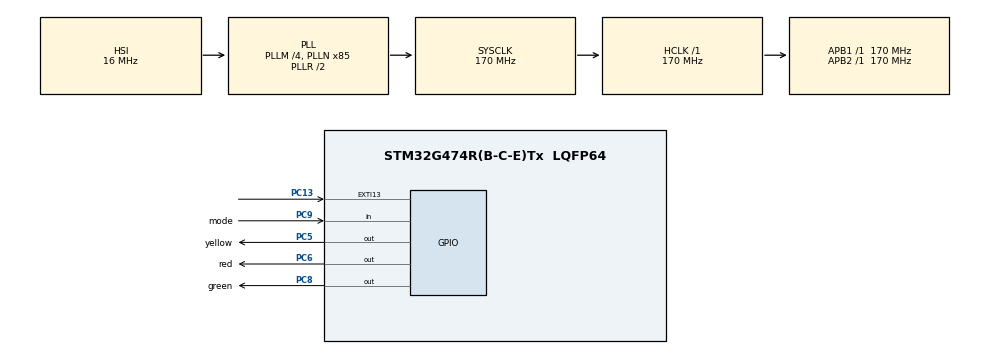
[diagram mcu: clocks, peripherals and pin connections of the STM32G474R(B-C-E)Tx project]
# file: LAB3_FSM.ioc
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Mcu.Family=STM32G4
Mcu.Name=STM32G474R(B-C-E)Tx
Mcu.Package=LQFP64
NUCLEO-G474RE.BUTTON=1
NUCLEO-G474RE.LD2=true
NUCLEO-G474RE.VCP=true
NVIC.EXTI15_10_IRQn=true\:0\:0\:false\:false\:true\:true\:true\:true
NVIC.PriorityGroup=NVIC_PRIORITYGROUP_4
PA13.GPIO_Label=T_SWDIO
PA13.Signal=SYS_JTMS-SWDIO
PA14.GPIO_Label=T_SWCLK
PA14.Signal=SYS_JTCK-SWCLK
PA2.Signal=LPUART1_TX
PA3.Signal=LPUART1_RX
PB3.GPIO_Label=T_SWO
PB3.Signal=SYS_JTDO-SWO
PC13.Signal=GPXTI13
PC14-OSC32_IN.GPIO_Label=RCC_OSC32_IN
PC14-OSC32_IN.Signal=RCC_OSC32_IN
PC15-OSC32_OUT.GPIO_Label=RCC_OSC32_OUT
PC15-OSC32_OUT.Signal=RCC_OSC32_OUT
PC5.GPIO_Label=yellow
PC5.Signal=GPIO_Output
PC6.GPIO_Label=red
PC6.Signal=GPIO_Output
PC8.GPIO_Label=green
PC8.Signal=GPIO_Output
PC9.GPIO_Label=mode
PC9.GPIO_PuPd=GPIO_PULLUP
PC9.Signal=GPIO_Input
PF0-OSC_IN.GPIO_Label=RCC_OSC_IN
PF0-OSC_IN.Signal=RCC_OSC_IN
PF1-OSC_OUT.GPIO_Label=RCC_OSC_OUT
PF1-OSC_OUT.Signal=RCC_OSC_OUT
ProjectManager.HeapSize=0x200
ProjectManager.StackSize=0x400
ProjectManager.TargetToolchain=STM32CubeIDE
RCC.ADC12Freq_Value=170000000
RCC.ADC345Freq_Value=170000000
RCC.AHBFreq_Value=170000000
RCC.APB1Freq_Value=170000000
RCC.APB1TimFreq_Value=170000000
RCC.APB2Freq_Value=170000000
RCC.APB2TimFreq_Value=170000000
RCC.CortexFreq_Value=170000000
RCC.EXTERNAL_CLOCK_VALUE=12288000
RCC.HCLKFreq_Value=170000000
RCC.HSE_VALUE=24000000
RCC.HSI48_VALUE=48000000
RCC.HSI_VALUE=16000000
RCC.LSE_VALUE=32768
RCC.PLLM=RCC_PLLM_DIV4
RCC.PLLN=85
RCC.RTCClockSelection=RCC_RTCCLKSOURCE_LSE
RCC.SYSCLKFreq_VALUE=170000000
RCC.SYSCLKSource=RCC_SYSCLKSOURCE_PLLCLK
RCC.USBFreq_Value=170000000
RCC.VCOOutputFreq_Value=340000000
VP_NUCLEO-G474RE_VS_BSP_COMMON.Mode=COMMON
VP_SYS_VS_DBSignals.Mode=DisableDeadBatterySignals
board=NUCLEO-G474RE

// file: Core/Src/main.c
/* USER CODE BEGIN Header */
/**
  ******************************************************************************
  * @file           : main.c
  * @brief          : Main program body
  ******************************************************************************
  * @attention
  *
  * Copyright (c) 2026 STMicroelectronics.
  * All rights reserved.
  *
  * This software is licensed under terms that can be found in the LICENSE file
  * in the root directory of this software component.
  * If no LICENSE file comes with this software, it is provided AS-IS.
  *
  ******************************************************************************
  */
/* USER CODE END Header */
#include "main.h"

COM_InitTypeDef BspCOMInit;

/* USER CODE BEGIN PV */
/* =========================
   State 定義 (狀態)
   0 = NORMAL (正常綠燈)
   1 = WARNING (警告黃燈)
   2 = EMERGENCY (緊急紅燈)
   ========================= */
#define STATE_NORMAL      0
#define STATE_WARNING     1
#define STATE_EMERGENCY   2

int state = STATE_NORMAL;

/* =========================
   Timing 計時變數
   ========================= */
uint32_t now = 0;
uint32_t previous = 0;

/* =========================
   按鈕與中斷事件 Flag
   ========================= */
volatile int STOP = 0;
int MODE_event = 0;

/* MODE 按鍵前一次與當前狀態 */
GPIO_PinState mode_previous = GPIO_PIN_SET;
GPIO_PinState mode_current = GPIO_PIN_SET;
/* USER CODE END PV */

void SystemClock_Config(void);
static void MX_GPIO_Init(void);

int main(void)
{

  /* MCU Configuration--------------------------------------------------------*/

  /* Reset of all peripherals, Initializes the Flash interface and the Systick. */
  HAL_Init();

  /* Configure the system clock */
  SystemClock_Config();

  /* Initialize all configured peripherals */
  MX_GPIO_Init();
  /* USER CODE BEGIN 2 */
  /* =========================
       開機初始狀態：NORMAL (正常)
       綠燈先亮，其餘燈滅，並記錄當前時間
       ========================= */
    previous = HAL_GetTick();
    HAL_GPIO_WritePin(GPIOC, GPIO_PIN_8, GPIO_PIN_SET);    // 綠燈亮
    HAL_GPIO_WritePin(GPIOC, GPIO_PIN_5, GPIO_PIN_RESET);  // 黃燈滅
    HAL_GPIO_WritePin(GPIOC, GPIO_PIN_6, GPIO_PIN_RESET);  // 紅燈滅
  /* USER CODE END 2 */

  /* Initialize led */
  BSP_LED_Init(LED_GREEN);

  /* Initialize USER push-button, will be used to trigger an interrupt each time it's pressed.*/
  BSP_PB_Init(BUTTON_USER, BUTTON_MODE_EXTI);

  /* Initialize COM1 port (115200, 8 bits (7-bit data + 1 stop bit), no parity */
  BspCOMInit.BaudRate   = 115200;
  BspCOMInit.WordLength = COM_WORDLENGTH_8B;
  BspCOMInit.StopBits   = COM_STOPBITS_1;
  BspCOMInit.Parity     = COM_PARITY_NONE;
  BspCOMInit.HwFlowCtl  = COM_HWCONTROL_NONE;
  if (BSP_COM_Init(COM1, &BspCOMInit) != BSP_ERROR_NONE)
  {
    Error_Handler();
  }

  /* Infinite loop */
  /* USER CODE BEGIN WHILE */
  uint32_t warning_start_time = 0;
  while (1)
  {

    /* USER CODE END WHILE */

    /* USER CODE BEGIN 3 */
  /* =====================================================
       Step 1：讀取輸入事件與系統時間
       ===================================================== */
    MODE_event = 0;
    mode_current = HAL_GPIO_ReadPin(GPIOC, GPIO_PIN_9);

    /* 偵測 PC9 按下瞬間 (High 變 Low) 並做防彈跳 */
    if ((mode_previous == GPIO_PIN_SET) && (mode_current == GPIO_PIN_RESET))
    {
        HAL_Delay(50); // 防彈跳延遲
        if (HAL_GPIO_ReadPin(GPIOC, GPIO_PIN_9) == GPIO_PIN_RESET)
        {
            MODE_event = 1;
        }
    }
    mode_previous = mode_current;
    now = HAL_GetTick(); // 取得當前時間

    /* =====================================================
       Step 2：狀態切換 (FSM Transition)
       ===================================================== */
    // 正常模式按按鍵 -> 進入警告模式
    if ((state == STATE_NORMAL) && (MODE_event == 1))
    {
        state = STATE_WARNING;
        warning_start_time = now;
        previous = now; // 重置計時
        HAL_GPIO_WritePin(GPIOC, GPIO_PIN_8, GPIO_PIN_RESET); // 綠燈滅
        HAL_GPIO_WritePin(GPIOC, GPIO_PIN_5, GPIO_PIN_SET);   // 黃燈亮
        HAL_GPIO_WritePin(GPIOC, GPIO_PIN_6, GPIO_PIN_RESET); // 紅燈滅
    }
    // 警告模式按按鍵 -> 回到正常模式
    else if ((state == STATE_WARNING) && ((MODE_event == 1) || (now - warning_start_time >= 5000)))
    {
        state = STATE_NORMAL;
        previous = now; // 重置計時
        HAL_GPIO_WritePin(GPIOC, GPIO_PIN_8, GPIO_PIN_SET);   // 綠燈亮
        HAL_GPIO_WritePin(GPIOC, GPIO_PIN_5, GPIO_PIN_RESET); // 黃燈滅
        HAL_GPIO_WritePin(GPIOC, GPIO_PIN_6, GPIO_PIN_RESET); // 紅燈滅
    }
    // 緊急停止按鍵觸發 (優先權最高)
    if (STOP == 1)
    {
        state = STATE_EMERGENCY;
        STOP = 0; // 清除旗標
        HAL_GPIO_WritePin(GPIOC, GPIO_PIN_8, GPIO_PIN_RESET); // 綠燈滅
        HAL_GPIO_WritePin(GPIOC, GPIO_PIN_5, GPIO_PIN_RESET); // 黃燈滅
        HAL_GPIO_WritePin(GPIOC, GPIO_PIN_6, GPIO_PIN_SET);   // 紅燈常亮
    }

    /* =====================================================
       Step 3：執行狀態行為 (Behavior)
       ===================================================== */
    if (state == STATE_NORMAL)
    {
        // 綠燈 1Hz 閃爍 (每 500ms 翻轉一次)
        if ((now - previous) >= 500)
        {
            previous = now;
            HAL_GPIO_TogglePin(GPIOC, GPIO_PIN_8);
        }
    }
    else if (state == STATE_WARNING)
    {
        // 黃燈 2Hz 閃爍 (每 250ms 翻轉一次)
        if ((now - previous) >= 250)
        {
            previous = now;
            HAL_GPIO_TogglePin(GPIOC, GPIO_PIN_5);
        }
    }
    else if (state == STATE_EMERGENCY)
    {
        // 紅燈保持常亮
        HAL_GPIO_WritePin(GPIOC, GPIO_PIN_8, GPIO_PIN_RESET);
        HAL_GPIO_WritePin(GPIOC, GPIO_PIN_5, GPIO_PIN_RESET);
        HAL_GPIO_WritePin(GPIOC, GPIO_PIN_6, GPIO_PIN_SET);
    }
  }
  /* USER CODE END 3 */
}

void SystemClock_Config(void)
{
  RCC_OscInitTypeDef RCC_OscInitStruct = {0};
  RCC_ClkInitTypeDef RCC_ClkInitStruct = {0};

  /** Configure the main internal regulator output voltage
  */
  HAL_PWREx_ControlVoltageScaling(PWR_REGULATOR_VOLTAGE_SCALE1_BOOST);

  /** Initializes the RCC Oscillators according to the specified parameters
  * in the RCC_OscInitTypeDef structure.
  */
  RCC_OscInitStruct.OscillatorType = RCC_OSCILLATORTYPE_HSI;
  RCC_OscInitStruct.HSIState = RCC_HSI_ON;
  RCC_OscInitStruct.HSICalibrationValue = RCC_HSICALIBRATION_DEFAULT;
  RCC_OscInitStruct.PLL.PLLState = RCC_PLL_ON;
  RCC_OscInitStruct.PLL.PLLSource = RCC_PLLSOURCE_HSI;
  RCC_OscInitStruct.PLL.PLLM = RCC_PLLM_DIV4;
  RCC_OscInitStruct.PLL.PLLN = 85;
  RCC_OscInitStruct.PLL.PLLP = RCC_PLLP_DIV2;
  RCC_OscInitStruct.PLL.PLLQ = RCC_PLLQ_DIV2;
  RCC_OscInitStruct.PLL.PLLR = RCC_PLLR_DIV2;
  if (HAL_RCC_OscConfig(&RCC_OscInitStruct) != HAL_OK)
  {
    Error_Handler();
  }

  /** Initializes the CPU, AHB and APB buses clocks
  */
  RCC_ClkInitStruct.ClockType = RCC_CLOCKTYPE_HCLK|RCC_CLOCKTYPE_SYSCLK
                              |RCC_CLOCKTYPE_PCLK1|RCC_CLOCKTYPE_PCLK2;
  RCC_ClkInitStruct.SYSCLKSource = RCC_SYSCLKSOURCE_PLLCLK;
  RCC_ClkInitStruct.AHBCLKDivider = RCC_SYSCLK_DIV1;
  RCC_ClkInitStruct.APB1CLKDivider = RCC_HCLK_DIV1;
  RCC_ClkInitStruct.APB2CLKDivider = RCC_HCLK_DIV1;

  if (HAL_RCC_ClockConfig(&RCC_ClkInitStruct, FLASH_LATENCY_4) != HAL_OK)
  {
    Error_Handler();
  }
}

static void MX_GPIO_Init(void)
{
  GPIO_InitTypeDef GPIO_InitStruct = {0};

  /* GPIO Ports Clock Enable */
  __HAL_RCC_GPIOC_CLK_ENABLE();
  __HAL_RCC_GPIOF_CLK_ENABLE();
  __HAL_RCC_GPIOA_CLK_ENABLE();
  __HAL_RCC_GPIOB_CLK_ENABLE();

  /*Configure GPIO pin Output Level */
  HAL_GPIO_WritePin(GPIOC, yellow_Pin|red_Pin|green_Pin, GPIO_PIN_RESET);

  /*Configure GPIO pin : PC13 */
  GPIO_InitStruct.Pin = GPIO_PIN_13;
  GPIO_InitStruct.Mode = GPIO_MODE_IT_RISING;
  GPIO_InitStruct.Pull = GPIO_NOPULL;
  HAL_GPIO_Init(GPIOC, &GPIO_InitStruct);

  /*Configure GPIO pins : yellow_Pin red_Pin green_Pin */
  GPIO_InitStruct.Pin = yellow_Pin|red_Pin|green_Pin;
  GPIO_InitStruct.Mode = GPIO_MODE_OUTPUT_PP;
  GPIO_InitStruct.Pull = GPIO_NOPULL;
  GPIO_InitStruct.Speed = GPIO_SPEED_FREQ_LOW;
  HAL_GPIO_Init(GPIOC, &GPIO_InitStruct);

  /*Configure GPIO pin : mode_Pin */
  GPIO_InitStruct.Pin = mode_Pin;
  GPIO_InitStruct.Mode = GPIO_MODE_INPUT;
  GPIO_InitStruct.Pull = GPIO_PULLUP;
  HAL_GPIO_Init(mode_GPIO_Port, &GPIO_InitStruct);

  /* EXTI interrupt init*/
  HAL_NVIC_SetPriority(EXTI15_10_IRQn, 0, 0);
  HAL_NVIC_EnableIRQ(EXTI15_10_IRQn);

}

/* USER CODE BEGIN 4 */
/* =========================================================
   STOP Button EXTI Callback
   當按鍵按下觸發中斷時，只把 STOP 設為 1 (立旗標)
   ========================================================= */
void HAL_GPIO_EXTI_Callback(uint16_t GPIO_Pin)
{
  if (GPIO_Pin == GPIO_PIN_13)
  {
    STOP = 1;
  }
}
/* USER CODE END 4 */

void Error_Handler(void)
{
  __disable_irq();
  while (1)
  {
  }
}
